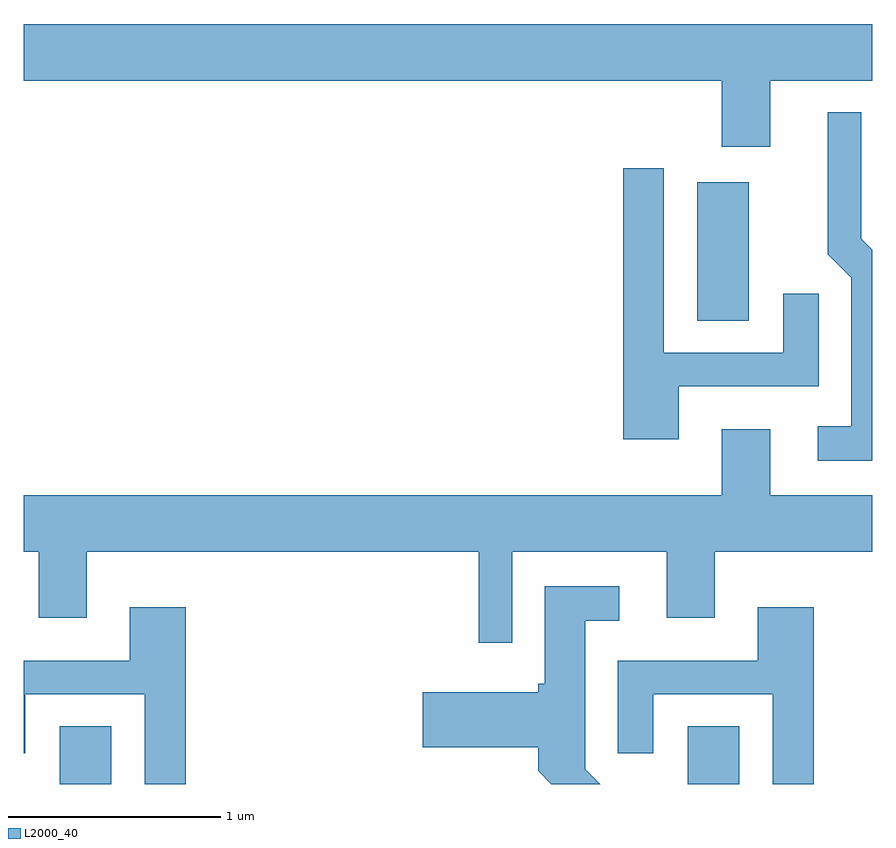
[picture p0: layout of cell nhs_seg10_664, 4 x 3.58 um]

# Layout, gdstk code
import gdstk
lib = gdstk.Library(unit=1e-6, precision=1e-09)
def R(c, l, rs):  # rectangles x0, y0, x1, y1
    for r in rs: c.add(gdstk.rectangle(r[:2], r[2:], *l))
def P(c, l, *ps):  # polygons
    for p in ps: c.add(gdstk.Polygon(p, *l))
L2000_40 = (2000, 40)

nhs_seg10_664 = lib.new_cell('nhs_seg10_664')
R(nhs_seg10_664, L2000_40, [(203.781,2190.522,204.024,2190.794), (206.741,2190.522,206.984,2190.794), (206.786,2192.706,207.029,2193.359)])
P(nhs_seg10_664, L2000_40, [(207.129,2193.836),(207.611,2193.836),(207.611,2194.104),(203.611,2194.104),(203.611,2193.836),(206.901,2193.836),(206.901,2193.526),(207.129,2193.526)],
  [(207.611,2193.04),(207.559,2193.092),(207.559,2193.688),(207.401,2193.688),(207.401,2193.019),(207.511,2192.909),(207.511,2192.209),(207.353,2192.209),(207.353,2192.046),(207.611,2192.046)],
  [(206.699,2192.396),(207.359,2192.396),(207.359,2192.833),(207.191,2192.833),(207.191,2192.554),(206.629,2192.554),(206.629,2193.424),(206.436,2193.424),(206.436,2192.146),(206.699,2192.146)],
  [(205.914,2191.616),(206.641,2191.616),(206.641,2191.306),(206.869,2191.306),(206.869,2191.616),(207.611,2191.616),(207.611,2191.884),(207.129,2191.884),(207.129,2192.194),(206.901,2192.194),(206.901,2191.884),(203.611,2191.884),(203.611,2191.616),(203.681,2191.616),(203.681,2191.306),(203.909,2191.306),(203.909,2191.616),(205.756,2191.616),(205.756,2191.188),(205.914,2191.188)],
  [(206.259,2190.592),(206.259,2191.291),(206.418,2191.291),(206.418,2191.454),(206.066,2191.454),(206.066,2190.994),(206.036,2190.994),(206.036,2190.954),(205.491,2190.954),(205.491,2190.696),(206.036,2190.696),(206.036,2190.584),(206.098,2190.522),(206.329,2190.522)],
  [(204.374,2191.354),(204.111,2191.354),(204.111,2191.104),(203.611,2191.104),(203.611,2190.668),(203.619,2190.668),(203.619,2190.946),(204.181,2190.946),(204.181,2190.522),(204.374,2190.522)],
  [(207.334,2191.354),(207.071,2191.354),(207.071,2191.104),(206.411,2191.104),(206.411,2190.668),(206.579,2190.668),(206.579,2190.946),(207.141,2190.946),(207.141,2190.522),(207.334,2190.522)])

lib.write_gds('nhs_seg10_664.gds')
